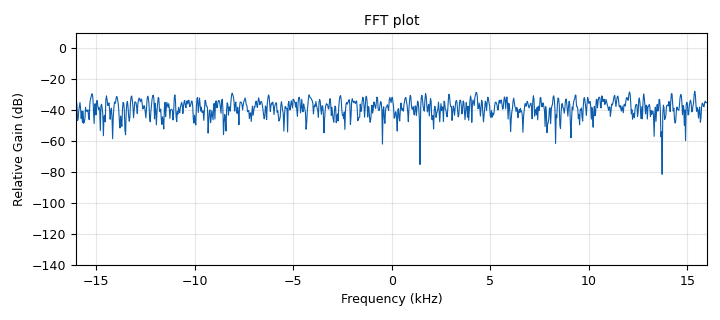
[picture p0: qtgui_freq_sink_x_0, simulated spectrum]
options:
  parameters:
    generate_options: qt_gui
    id: jammer
    output_language: python
  states: {}

blocks:
- name: samp_rate
  id: variable
  parameters:
    value: '32000'
  states: {}
- name: target_freq
  id: variable
  parameters:
    value: 2.416e9
  states: {}
- name: analog_noise_source_x_0
  id: analog_noise_source_x
  parameters:
    amp: '1'
    noise_type: analog.GR_GAUSSIAN
    seed: '0'
    type: complex
  states: {}
- name: osmosdr_sink_0
  id: osmosdr_sink
  parameters:
    args: ''
    bb_gain0: '20'
    bw0: 20e6
    freq0: target_freq
    gain0: '50'
    if_gain0: '20'
    sample_rate: samp_rate
    sync: sync
    type: fc32
  states: {}
- name: qtgui_freq_sink_x_0
  id: qtgui_freq_sink_x
  parameters:
    bw: samp_rate
    fc: '0'
    fftsize: '1024'
    name: '"FFT plot"'
    type: complex
  states: {}

connections:
- [analog_noise_source_x_0, '0', osmosdr_sink_0, '0']
- [analog_noise_source_x_0, '0', qtgui_freq_sink_x_0, '0']

metadata:
  file_format: 1
